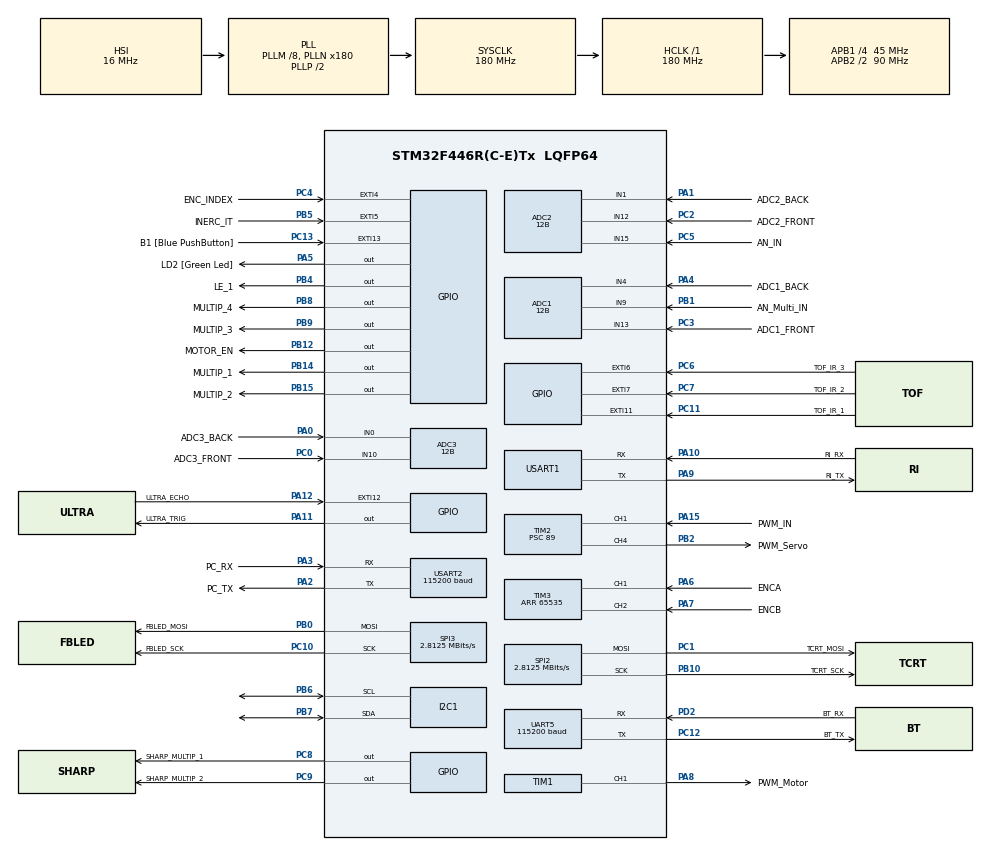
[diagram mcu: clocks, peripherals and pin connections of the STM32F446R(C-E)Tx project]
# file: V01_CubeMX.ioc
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ADC1.Channel-30\#ChannelRegularConversion=ADC_CHANNEL_13
ADC1.Channel-31\#ChannelRegularConversion=ADC_CHANNEL_4
ADC1.Channel-32\#ChannelRegularConversion=ADC_CHANNEL_9
ADC1.ClockPrescaler=ADC_CLOCK_SYNC_PCLK_DIV4
ADC1.ContinuousConvMode=DISABLE
ADC1.DMAAccessMode=ADC_DMAACCESSMODE_1
ADC1.DMAContinuousRequests=ENABLE
ADC1.DataAlign=ADC_DATAALIGN_RIGHT
ADC1.DiscontinuousConvMode=DISABLE
ADC1.EOCSelection=ADC_EOC_SEQ_CONV
ADC1.EnableAnalogWatchDog=false
ADC1.ExternalTrigConv=ADC_SOFTWARE_START
ADC1.ExternalTrigConvEdge=ADC_EXTERNALTRIGCONVEDGE_NONE
ADC1.InjNumberOfConversion=0
ADC1.Mode=ADC_TRIPLEMODE_REGSIMULT
ADC1.NbrOfConversion=3
ADC1.NbrOfConversionFlag=1
ADC1.Rank-30\#ChannelRegularConversion=1
ADC1.Rank-31\#ChannelRegularConversion=2
ADC1.Rank-32\#ChannelRegularConversion=3
ADC1.Resolution=ADC_RESOLUTION_12B
ADC1.SamplingTime-30\#ChannelRegularConversion=ADC_SAMPLETIME_84CYCLES
ADC1.SamplingTime-31\#ChannelRegularConversion=ADC_SAMPLETIME_84CYCLES
ADC1.SamplingTime-32\#ChannelRegularConversion=ADC_SAMPLETIME_84CYCLES
ADC1.ScanConvMode=ENABLE
ADC1.TwoSamplingDelay=ADC_TWOSAMPLINGDELAY_20CYCLES
ADC1.master=1
ADC2.Channel-0\#ChannelRegularConversion=ADC_CHANNEL_12
ADC2.Channel-1\#ChannelRegularConversion=ADC_CHANNEL_1
ADC2.Channel-2\#ChannelRegularConversion=ADC_CHANNEL_15
ADC2.ClockPrescaler=ADC_CLOCK_SYNC_PCLK_DIV4
ADC2.ContinuousConvMode=DISABLE
ADC2.DMAAccessMode=ADC_DMAACCESSMODE_1
ADC2.DMAContinuousRequests=ENABLE
ADC2.DataAlign=ADC_DATAALIGN_RIGHT
ADC2.DiscontinuousConvMode=DISABLE
ADC2.EOCSelection=ADC_EOC_SEQ_CONV
ADC2.EnableAnalogWatchDog=false
ADC2.Mode=ADC_TRIPLEMODE_REGSIMULT
ADC2.NbrOfConversion=3
ADC2.NbrOfConversionFlag=1
ADC2.Rank-0\#ChannelRegularConversion=1
ADC2.Rank-1\#ChannelRegularConversion=2
ADC2.Rank-2\#ChannelRegularConversion=3
ADC2.Resolution=ADC_RESOLUTION_12B
ADC2.SamplingTime-0\#ChannelRegularConversion=ADC_SAMPLETIME_84CYCLES
ADC2.SamplingTime-1\#ChannelRegularConversion=ADC_SAMPLETIME_84CYCLES
ADC2.SamplingTime-2\#ChannelRegularConversion=ADC_SAMPLETIME_84CYCLES
ADC2.ScanConvMode=ENABLE
ADC2.TwoSamplingDelay=ADC_TWOSAMPLINGDELAY_20CYCLES
ADC3.Channel-14\#ChannelRegularConversion=ADC_CHANNEL_10
ADC3.Channel-15\#ChannelRegularConversion=ADC_CHANNEL_0
ADC3.Channel-16\#ChannelRegularConversion=ADC_CHANNEL_0
ADC3.ClockPrescaler=ADC_CLOCK_SYNC_PCLK_DIV4
ADC3.ContinuousConvMode=DISABLE
ADC3.DMAAccessMode=ADC_DMAACCESSMODE_1
ADC3.DMAContinuousRequests=ENABLE
ADC3.DataAlign=ADC_DATAALIGN_RIGHT
ADC3.DiscontinuousConvMode=DISABLE
ADC3.EOCSelection=ADC_EOC_SEQ_CONV
ADC3.EnableAnalogWatchDog=false
ADC3.InjNumberOfConversion=0
ADC3.Mode=ADC_TRIPLEMODE_REGSIMULT
ADC3.NbrOfConversion=3
ADC3.NbrOfConversionFlag=1
ADC3.Rank-14\#ChannelRegularConversion=1
ADC3.Rank-15\#ChannelRegularConversion=2
ADC3.Rank-16\#ChannelRegularConversion=3
ADC3.Resolution=ADC_RESOLUTION_12B
ADC3.SamplingTime-14\#ChannelRegularConversion=ADC_SAMPLETIME_84CYCLES
ADC3.SamplingTime-15\#ChannelRegularConversion=ADC_SAMPLETIME_84CYCLES
ADC3.SamplingTime-16\#ChannelRegularConversion=ADC_SAMPLETIME_84CYCLES
ADC3.ScanConvMode=ENABLE
ADC3.TwoSamplingDelay=ADC_TWOSAMPLINGDELAY_20CYCLES
Dma.ADC1.0.Direction=DMA_PERIPH_TO_MEMORY
Dma.ADC1.0.FIFOMode=DMA_FIFOMODE_DISABLE
Dma.ADC1.0.Instance=DMA2_Stream0
Dma.ADC1.0.MemDataAlignment=DMA_MDATAALIGN_WORD
Dma.ADC1.0.MemInc=DMA_MINC_ENABLE
Dma.ADC1.0.Mode=DMA_NORMAL
Dma.ADC1.0.PeriphDataAlignment=DMA_PDATAALIGN_WORD
Dma.ADC1.0.PeriphInc=DMA_PINC_DISABLE
Dma.ADC1.0.Priority=DMA_PRIORITY_HIGH
Dma.ADC2.6.Direction=DMA_PERIPH_TO_MEMORY
Dma.ADC2.6.FIFOMode=DMA_FIFOMODE_DISABLE
Dma.ADC2.6.Instance=DMA2_Stream2
Dma.ADC2.6.MemDataAlignment=DMA_MDATAALIGN_WORD
Dma.ADC2.6.MemInc=DMA_MINC_ENABLE
Dma.ADC2.6.Mode=DMA_NORMAL
Dma.ADC2.6.PeriphDataAlignment=DMA_PDATAALIGN_WORD
Dma.ADC2.6.PeriphInc=DMA_PINC_DISABLE
Dma.ADC2.6.Priority=DMA_PRIORITY_HIGH
Dma.ADC3.7.Direction=DMA_PERIPH_TO_MEMORY
Dma.ADC3.7.FIFOMode=DMA_FIFOMODE_DISABLE
Dma.ADC3.7.Instance=DMA2_Stream1
Dma.ADC3.7.MemDataAlignment=DMA_MDATAALIGN_WORD
Dma.ADC3.7.MemInc=DMA_MINC_ENABLE
Dma.ADC3.7.Mode=DMA_NORMAL
Dma.ADC3.7.PeriphDataAlignment=DMA_PDATAALIGN_WORD
Dma.ADC3.7.PeriphInc=DMA_PINC_DISABLE
Dma.ADC3.7.Priority=DMA_PRIORITY_HIGH
Dma.Request0=ADC1
Dma.Request1=TIM3_CH4/UP
Dma.Request2=USART2_RX
Dma.Request3=USART2_TX
Dma.Request4=UART5_RX
Dma.Request5=UART5_TX
Dma.Request6=ADC2
Dma.Request7=ADC3
Dma.Request8=SPI2_TX
Dma.SPI2_TX.8.Direction=DMA_MEMORY_TO_PERIPH
Dma.SPI2_TX.8.FIFOMode=DMA_FIFOMODE_DISABLE
Dma.SPI2_TX.8.Instance=DMA1_Stream4
Dma.SPI2_TX.8.MemDataAlignment=DMA_MDATAALIGN_BYTE
Dma.SPI2_TX.8.MemInc=DMA_MINC_ENABLE
Dma.SPI2_TX.8.Mode=DMA_NORMAL
Dma.SPI2_TX.8.PeriphDataAlignment=DMA_PDATAALIGN_BYTE
Dma.SPI2_TX.8.PeriphInc=DMA_PINC_DISABLE
Dma.SPI2_TX.8.Priority=DMA_PRIORITY_LOW
Dma.TIM3_CH4/UP.1.Direction=DMA_PERIPH_TO_MEMORY
Dma.TIM3_CH4/UP.1.FIFOMode=DMA_FIFOMODE_DISABLE
Dma.TIM3_CH4/UP.1.Instance=DMA1_Stream2
Dma.TIM3_CH4/UP.1.MemDataAlignment=DMA_MDATAALIGN_HALFWORD
Dma.TIM3_CH4/UP.1.MemInc=DMA_MINC_ENABLE
Dma.TIM3_CH4/UP.1.Mode=DMA_NORMAL
Dma.TIM3_CH4/UP.1.PeriphDataAlignment=DMA_PDATAALIGN_HALFWORD
Dma.TIM3_CH4/UP.1.PeriphInc=DMA_PINC_DISABLE
Dma.TIM3_CH4/UP.1.Priority=DMA_PRIORITY_HIGH
Dma.UART5_RX.4.Direction=DMA_PERIPH_TO_MEMORY
Dma.UART5_RX.4.FIFOMode=DMA_FIFOMODE_DISABLE
Dma.UART5_RX.4.Instance=DMA1_Stream0
Dma.UART5_RX.4.MemDataAlignment=DMA_MDATAALIGN_BYTE
Dma.UART5_RX.4.MemInc=DMA_MINC_ENABLE
Dma.UART5_RX.4.Mode=DMA_NORMAL
Dma.UART5_RX.4.PeriphDataAlignment=DMA_PDATAALIGN_BYTE
Dma.UART5_RX.4.PeriphInc=DMA_PINC_DISABLE
Dma.UART5_RX.4.Priority=DMA_PRIORITY_LOW
Dma.UART5_TX.5.Direction=DMA_MEMORY_TO_PERIPH
Dma.UART5_TX.5.FIFOMode=DMA_FIFOMODE_DISABLE
Dma.UART5_TX.5.Instance=DMA1_Stream7
Dma.UART5_TX.5.MemDataAlignment=DMA_MDATAALIGN_BYTE
Dma.UART5_TX.5.MemInc=DMA_MINC_ENABLE
Dma.UART5_TX.5.Mode=DMA_NORMAL
Dma.UART5_TX.5.PeriphDataAlignment=DMA_PDATAALIGN_BYTE
Dma.UART5_TX.5.PeriphInc=DMA_PINC_DISABLE
Dma.UART5_TX.5.Priority=DMA_PRIORITY_LOW
Dma.USART2_RX.2.Direction=DMA_PERIPH_TO_MEMORY
Dma.USART2_RX.2.FIFOMode=DMA_FIFOMODE_DISABLE
Dma.USART2_RX.2.Instance=DMA1_Stream5
Dma.USART2_RX.2.MemDataAlignment=DMA_MDATAALIGN_BYTE
Dma.USART2_RX.2.MemInc=DMA_MINC_ENABLE
Dma.USART2_RX.2.Mode=DMA_NORMAL
Dma.USART2_RX.2.PeriphDataAlignment=DMA_PDATAALIGN_BYTE
Dma.USART2_RX.2.PeriphInc=DMA_PINC_DISABLE
Dma.USART2_RX.2.Priority=DMA_PRIORITY_MEDIUM
Dma.USART2_TX.3.Direction=DMA_MEMORY_TO_PERIPH
Dma.USART2_TX.3.FIFOMode=DMA_FIFOMODE_DISABLE
Dma.USART2_TX.3.Instance=DMA1_Stream6
Dma.USART2_TX.3.MemDataAlignment=DMA_MDATAALIGN_BYTE
Dma.USART2_TX.3.MemInc=DMA_MINC_ENABLE
Dma.USART2_TX.3.Mode=DMA_NORMAL
Dma.USART2_TX.3.PeriphDataAlignment=DMA_PDATAALIGN_BYTE
Dma.USART2_TX.3.PeriphInc=DMA_PINC_DISABLE
Dma.USART2_TX.3.Priority=DMA_PRIORITY_MEDIUM
FREERTOS.Tasks01=Encoder_Task,1,128,Start_Encoder_Task,As weak,NULL,Dynamic,NULL,NULL;ADC_Task,2,128,Start_ADC_Task,As weak,NULL,Dynamic,NULL,NULL;Debug_Task,0,512,Start_Debug_Task,As weak,NULL,Dynamic,NULL,NULL;Calculate_Task,1,512,Start_Calculate_Task,As weak,NULL,Dynamic,NULL,NULL;Motor_Task,0,128,Start_Motor_Task,As weak,NULL,Dynamic,NULL,NULL;Get_Debug_Task,-2,128,Start_Get_Debug_Task,As weak,NULL,Dynamic,NULL,NULL;Gyroscope_Task,0,512,Start_Gyroscope_Task,As weak,NULL,Dynamic,NULL,NULL;Servo_Task,0,256,Start_Servo_Task,As weak,NULL,Dynamic,NULL,NULL;TOF_Task,0,128,Start_TOF_Task,As weak,NULL,Dynamic,NULL,NULL
FREERTOS.configGENERATE_RUN_TIME_STATS=1
FREERTOS.configUSE_STATS_FORMATTING_FUNCTIONS=1
FREERTOS.configUSE_TIMERS=0
FREERTOS.configUSE_TRACE_FACILITY=1
I2C1.I2C_Mode=I2C_Standard
Mcu.Family=STM32F4
Mcu.Name=STM32F446R(C-E)Tx
Mcu.Package=LQFP64
NVIC.ADC_IRQn=true\:5\:0\:false\:false\:true\:true\:true
NVIC.DMA1_Stream0_IRQn=true\:5\:0\:false\:false\:true\:true\:false
NVIC.DMA1_Stream2_IRQn=true\:5\:0\:false\:false\:true\:true\:false
NVIC.DMA1_Stream4_IRQn=true\:5\:0\:false\:false\:true\:true\:false
NVIC.DMA1_Stream5_IRQn=true\:5\:0\:false\:false\:true\:true\:false
NVIC.DMA1_Stream6_IRQn=true\:5\:0\:false\:false\:true\:true\:false
NVIC.DMA1_Stream7_IRQn=true\:5\:0\:false\:false\:true\:true\:false
NVIC.DMA2_Stream0_IRQn=true\:5\:0\:false\:false\:true\:true\:false
NVIC.DMA2_Stream1_IRQn=true\:5\:0\:false\:false\:true\:true\:false
NVIC.DMA2_Stream2_IRQn=true\:5\:0\:false\:false\:true\:true\:false
NVIC.EXTI15_10_IRQn=true\:5\:0\:false\:false\:true\:true\:true
NVIC.EXTI9_5_IRQn=true\:5\:0\:false\:false\:true\:true\:true
NVIC.I2C1_ER_IRQn=true\:5\:0\:false\:false\:true\:true\:true
NVIC.I2C1_EV_IRQn=true\:5\:0\:false\:false\:true\:true\:true
NVIC.PriorityGroup=NVIC_PRIORITYGROUP_4
NVIC.SPI2_IRQn=true\:5\:0\:false\:false\:true\:true\:true
NVIC.TIM1_TRG_COM_TIM11_IRQn=true\:5\:0\:false\:false\:true\:true\:true
NVIC.TIM1_UP_TIM10_IRQn=true\:0\:0\:false\:false\:true\:false\:false
NVIC.TIM2_IRQn=true\:5\:0\:false\:false\:true\:true\:true
NVIC.TIM6_DAC_IRQn=true\:5\:0\:false\:false\:true\:true\:true
NVIC.TIM7_IRQn=true\:5\:0\:false\:false\:true\:true\:true
NVIC.TIM8_BRK_TIM12_IRQn=true\:5\:0\:false\:false\:true\:true\:true
NVIC.TIM8_TRG_COM_TIM14_IRQn=true\:5\:0\:false\:false\:true\:true\:true
NVIC.TIM8_UP_TIM13_IRQn=true\:5\:0\:false\:false\:true\:true\:true
NVIC.TimeBase=TIM1_UP_TIM10_IRQn
NVIC.TimeBaseIP=TIM10
NVIC.UART5_IRQn=true\:5\:0\:false\:false\:true\:true\:true
NVIC.USART1_IRQn=true\:5\:0\:false\:false\:true\:true\:true
NVIC.USART2_IRQn=true\:5\:0\:false\:false\:true\:true\:true
PA0-WKUP.GPIO_Label=ADC3_BACK
PA0-WKUP.Signal=ADCx_IN0
PA1.GPIO_Label=ADC2_BACK
PA1.Signal=ADCx_IN1
PA10.GPIO_Label=RI_RX
PA10.Mode=Asynchronous
PA10.Signal=USART1_RX
PA11.GPIO_Label=ULTRA_TRIG
PA11.GPIO_PuPd=GPIO_NOPULL
PA11.GPIO_Speed=GPIO_SPEED_FREQ_LOW
PA11.PinState=GPIO_PIN_RESET
PA11.Signal=GPIO_Output
PA12.GPIO_Label=ULTRA_ECHO
PA12.GPIO_ModeDefaultEXTI=GPIO_MODE_IT_RISING_FALLING
PA12.Signal=GPXTI12
PA13.GPIO_Label=TMS
PA13.Mode=Serial_Wire
PA13.Signal=SYS_JTMS-SWDIO
PA14.GPIO_Label=TCK
PA14.Mode=Serial_Wire
PA14.Signal=SYS_JTCK-SWCLK
PA15.GPIO_Label=PWM_IN
PA15.Signal=S_TIM2_CH1_ETR
PA2.GPIO_Label=PC_TX
PA2.Mode=Asynchronous
PA2.Signal=USART2_TX
PA3.GPIO_Label=PC_RX
PA3.Mode=Asynchronous
PA3.Signal=USART2_RX
PA4.GPIO_Label=ADC1_BACK
PA4.Signal=ADCx_IN4
PA5.GPIO_Label=LD2 [Green Led]
PA5.Signal=GPIO_Output
PA6.GPIO_Label=ENCA
PA6.GPIO_PuPd=GPIO_NOPULL
PA6.GPIO_Speed=GPIO_SPEED_FREQ_VERY_HIGH
PA6.Signal=S_TIM3_CH1
PA7.GPIO_Label=ENCB
PA7.GPIO_PuPd=GPIO_NOPULL
PA7.GPIO_Speed=GPIO_SPEED_FREQ_VERY_HIGH
PA7.Signal=S_TIM3_CH2
PA8.GPIO_Label=PWM_Motor
PA8.Signal=S_TIM1_CH1
PA9.GPIO_Label=RI_TX
PA9.Mode=Asynchronous
PA9.Signal=USART1_TX
PB0.GPIO_Label=FBLED_MOSI
PB0.Mode=TX_Only_Simplex_Unidirect_Master
PB0.Signal=SPI3_MOSI
PB1.GPIO_Label=AN_Multi_IN
PB1.Signal=ADCx_IN9
PB10.GPIO_Label=TCRT_SCK
PB10.Mode=TX_Only_Simplex_Unidirect_Master
PB10.Signal=SPI2_SCK
PB12.GPIO_Label=MOTOR_EN
PB12.GPIO_PuPd=GPIO_PULLDOWN
PB12.Signal=GPIO_Output
PB14.GPIO_Label=MULTIP_1
PB14.GPIO_Speed=GPIO_SPEED_FREQ_LOW
PB14.Signal=GPIO_Output
PB15.GPIO_Label=MULTIP_2
PB15.GPIO_Speed=GPIO_SPEED_FREQ_LOW
PB15.Signal=GPIO_Output
PB2.GPIO_Label=PWM_Servo
PB2.Signal=S_TIM2_CH4
PB3.GPIO_Label=SWO
PB3.Signal=SYS_JTDO-SWO
PB4.GPIO_Label=LE_1
PB4.GPIO_Speed=GPIO_SPEED_FREQ_LOW
PB4.PinState=GPIO_PIN_RESET
PB4.Signal=GPIO_Output
PB5.GPIO_Label=INERC_IT
PB5.Signal=GPXTI5
PB6.Mode=I2C
PB6.Signal=I2C1_SCL
PB7.Mode=I2C
PB7.Signal=I2C1_SDA
PB8.GPIO_Label=MULTIP_4
PB8.GPIO_Speed=GPIO_SPEED_FREQ_LOW
PB8.Signal=GPIO_Output
PB9.GPIO_Label=MULTIP_3
PB9.GPIO_Speed=GPIO_SPEED_FREQ_LOW
PB9.Signal=GPIO_Output
PC0.GPIO_Label=ADC3_FRONT
PC0.Signal=ADCx_IN10
PC1.GPIO_Label=TCRT_MOSI
PC1.Mode=TX_Only_Simplex_Unidirect_Master
PC1.Signal=SPI2_MOSI
PC10.GPIO_Label=FBLED_SCK
PC10.Mode=TX_Only_Simplex_Unidirect_Master
PC10.Signal=SPI3_SCK
PC11.GPIO_Label=TOF_IR_1
PC11.Signal=GPXTI11
PC12.GPIO_Label=BT_TX
PC12.Mode=Asynchronous
PC12.Signal=UART5_TX
PC13.GPIO_Label=B1 [Blue PushButton]
PC13.GPIO_ModeDefaultEXTI=GPIO_MODE_IT_FALLING
PC13.Signal=GPXTI13
PC14-OSC32_IN.Mode=LSE-External-Oscillator
PC14-OSC32_IN.Signal=RCC_OSC32_IN
PC15-OSC32_OUT.Mode=LSE-External-Oscillator
PC15-OSC32_OUT.Signal=RCC_OSC32_OUT
PC2.GPIO_Label=ADC2_FRONT
PC2.Signal=ADCx_IN12
PC3.GPIO_Label=ADC1_FRONT
PC3.Signal=ADCx_IN13
PC4.GPIO_Label=ENC_INDEX
PC4.Signal=GPXTI4
PC5.GPIO_Label=AN_IN
PC5.Signal=ADCx_IN15
PC6.GPIO_Label=TOF_IR_3
PC6.Signal=GPXTI6
PC7.GPIO_Label=TOF_IR_2
PC7.Signal=GPXTI7
PC8.GPIO_Label=SHARP_MULTIP_1
PC8.GPIO_Speed=GPIO_SPEED_FREQ_LOW
PC8.Signal=GPIO_Output
PC9.GPIO_Label=SHARP_MULTIP_2
PC9.GPIO_Speed=GPIO_SPEED_FREQ_LOW
PC9.Signal=GPIO_Output
PD2.GPIO_Label=BT_RX
PD2.Mode=Asynchronous
PD2.Signal=UART5_RX
PH0-OSC_IN.Mode=HSE-External-Oscillator
PH0-OSC_IN.Signal=RCC_OSC_IN
PH1-OSC_OUT.Mode=HSE-External-Oscillator
PH1-OSC_OUT.Signal=RCC_OSC_OUT
ProjectManager.HeapSize=0x200
ProjectManager.StackSize=0x400
ProjectManager.TargetToolchain=MDK-ARM V5
RCC.48MHZClocksFreq_Value=84000000
RCC.AHBFreq_Value=180000000
RCC.APB1CLKDivider=RCC_HCLK_DIV4
RCC.APB1Freq_Value=45000000
RCC.APB1TimFreq_Value=90000000
RCC.APB2CLKDivider=RCC_HCLK_DIV2
RCC.APB2Freq_Value=90000000
RCC.APB2TimFreq_Value=180000000
RCC.CortexFreq_Value=180000000
RCC.FLatency-AdvancedSettings=FLASH_LATENCY_5
RCC.HCLKFreq_Value=180000000
RCC.HSE_VALUE=8000000
RCC.HSI_VALUE=16000000
RCC.PLLM=8
RCC.PLLN=180
RCC.SYSCLKFreq_VALUE=180000000
RCC.SYSCLKSource=RCC_SYSCLKSOURCE_PLLCLK
RCC.USBFreq_Value=180000000
RCC.VCOOutputFreq_Value=360000000
SH.ADCx_IN0.0=ADC3_IN0,IN0
SH.ADCx_IN1.0=ADC2_IN1,IN1
SH.ADCx_IN10.0=ADC3_IN10,IN10
SH.ADCx_IN12.0=ADC2_IN12,IN12
SH.ADCx_IN13.0=ADC1_IN13,IN13
SH.ADCx_IN15.0=ADC2_IN15,IN15
SH.ADCx_IN4.0=ADC1_IN4,IN4
SH.ADCx_IN9.0=ADC1_IN9,IN9
SH.S_TIM1_CH1.0=TIM1_CH1,PWM Generation1 CH1
SH.S_TIM2_CH1_ETR.0=TIM2_CH1,PWM_Input_1
SH.S_TIM2_CH4.0=TIM2_CH4,PWM Generation4 CH4
SH.S_TIM3_CH1.0=TIM3_CH1,Encoder_Interface
SH.S_TIM3_CH2.0=TIM3_CH2,Encoder_Interface
SPI2.BaudRatePrescaler=SPI_BAUDRATEPRESCALER_16
SPI2.CalculateBaudRate=2.8125 MBits/s
SPI2.DataSize=SPI_DATASIZE_8BIT
SPI2.Direction=SPI_DIRECTION_2LINES
SPI2.Mode=SPI_MODE_MASTER
SPI2.VirtualType=VM_MASTER
SPI3.BaudRatePrescaler=SPI_BAUDRATEPRESCALER_16
SPI3.CalculateBaudRate=2.8125 MBits/s
SPI3.DataSize=SPI_DATASIZE_8BIT
SPI3.Direction=SPI_DIRECTION_2LINES
SPI3.Mode=SPI_MODE_MASTER
SPI3.VirtualType=VM_MASTER
TIM1.Channel-PWM\ Generation1\ CH1=TIM_CHANNEL_1
TIM1.OCFastMode_PWM-PWM\ Generation1\ CH1=TIM_OCFAST_DISABLE
TIM1.Period=9999
TIM1.Prescaler=179
TIM1.Pulse-PWM\ Generation1\ CH1=1500
TIM11.Period=299
TIM11.Prescaler=179
TIM12.Period=65535
TIM12.Prescaler=17
TIM13.Period=10
TIM13.Prescaler=89
TIM14.Period=1999
TIM14.Prescaler=44999
TIM2.Channel-PWM\ Generation4\ CH4=TIM_CHANNEL_4
TIM2.Period=4999
TIM2.Prescaler=89
TIM2.Pulse-PWM\ Generation4\ CH4=1500
TIM3.EncoderMode=TIM_ENCODERMODE_TI1
TIM3.IC1Filter=5
TIM3.IC2Filter=5
TIM3.Period=65535
TIM6.Period=99
TIM6.Prescaler=89
TIM7.Period=59999
TIM7.Prescaler=89
UART5.BaudRate=115200
UART5.VirtualMode=Asynchronous
USART1.VirtualMode=VM_ASYNC
USART2.BaudRate=115200
USART2.VirtualMode=VM_ASYNC
VP_FREERTOS_VS_ENABLE.Mode=Enabled
VP_SYS_VS_tim10.Mode=TIM10
VP_TIM11_VS_ClockSourceINT.Mode=Enable_Timer
VP_TIM12_VS_ClockSourceINT.Mode=Internal
VP_TIM13_VS_ClockSourceINT.Mode=Enable_Timer
VP_TIM14_VS_ClockSourceINT.Mode=Enable_Timer
VP_TIM6_VS_ClockSourceINT.Mode=Enable_Timer
VP_TIM7_VS_ClockSourceINT.Mode=Enable_Timer
board=NUCLEO-F446RE

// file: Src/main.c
/* USER CODE BEGIN Header */
/**
  ******************************************************************************
  * @file           : main.c
  * @brief          : Main program body
  ******************************************************************************
  * This notice applies to any and all portions of this file
  * that are not between comment pairs USER CODE BEGIN and
  * USER CODE END. Other portions of this file, whether
  * inserted by the user or by software development tools
  * are owned by their respective copyright owners.
  *
  * Copyright (c) 2018 STMicroelectronics International N.V.
  * All rights reserved.
  *
  * Redistribution and use in source and binary forms, with or without
  * modification, are permitted, provided that the following conditions are met:
  *
  * 1. Redistribution of source code must retain the above copyright notice,
  *    this list of conditions and the following disclaimer.
  * 2. Redistributions in binary form must reproduce the above copyright notice,
  *    this list of conditions and the following disclaimer in the documentation
  *    and/or other materials provided with the distribution.
  * 3. Neither the name of STMicroelectronics nor the names of other
  *    contributors to this software may be used to endorse or promote products
  *    derived from this software without specific written permission.
  * 4. This software, including modifications and/or derivative works of this
  *    software, must execute solely and exclusively on microcontroller or
  *    microprocessor devices manufactured by or for STMicroelectronics.
  * 5. Redistribution and use of this software other than as permitted under
  *    this license is void and will automatically terminate your rights under
  *    this license.
  *
  * THIS SOFTWARE IS PROVIDED BY STMICROELECTRONICS AND CONTRIBUTORS "AS IS"
  * AND ANY EXPRESS, IMPLIED OR STATUTORY WARRANTIES, INCLUDING, BUT NOT
  * LIMITED TO, THE IMPLIED WARRANTIES OF MERCHANTABILITY, FITNESS FOR A
  * PARTICULAR PURPOSE AND NON-INFRINGEMENT OF THIRD PARTY INTELLECTUAL PROPERTY
  * RIGHTS ARE DISCLAIMED TO THE FULLEST EXTENT PERMITTED BY LAW. IN NO EVENT
  * SHALL STMICROELECTRONICS OR CONTRIBUTORS BE LIABLE FOR ANY DIRECT, INDIRECT,
  * INCIDENTAL, SPECIAL, EXEMPLARY, OR CONSEQUENTIAL DAMAGES (INCLUDING, BUT NOT
  * LIMITED TO, PROCUREMENT OF SUBSTITUTE GOODS OR SERVICES; LOSS OF USE, DATA,
  * OR PROFITS; OR BUSINESS INTERRUPTION) HOWEVER CAUSED AND ON ANY THEORY OF
  * LIABILITY, WHETHER IN CONTRACT, STRICT LIABILITY, OR TORT (INCLUDING
  * NEGLIGENCE OR OTHERWISE) ARISING IN ANY WAY OUT OF THE USE OF THIS SOFTWARE,
  * EVEN IF ADVISED OF THE POSSIBILITY OF SUCH DAMAGE.
  *
  ******************************************************************************
  */
/* USER CODE END Header */

#include "main.h"
#include "cmsis_os.h"

/* USER CODE BEGIN Includes */
#include "robonaut_config.h"
/* USER CODE END Includes */

/* USER CODE BEGIN PTD */
uint16_t Timer7_UPPER;
/* USER CODE END PTD */

ADC_HandleTypeDef hadc1;
ADC_HandleTypeDef hadc2;
ADC_HandleTypeDef hadc3;
DMA_HandleTypeDef hdma_adc1;
DMA_HandleTypeDef hdma_adc2;
DMA_HandleTypeDef hdma_adc3;

I2C_HandleTypeDef hi2c1;

SPI_HandleTypeDef hspi2;
SPI_HandleTypeDef hspi3;
DMA_HandleTypeDef hdma_spi2_tx;

TIM_HandleTypeDef htim1;
TIM_HandleTypeDef htim2;
TIM_HandleTypeDef htim3;
TIM_HandleTypeDef htim6;
TIM_HandleTypeDef htim7;
TIM_HandleTypeDef htim11;
TIM_HandleTypeDef htim12;
TIM_HandleTypeDef htim13;
TIM_HandleTypeDef htim14;
DMA_HandleTypeDef hdma_tim3_ch4_up;

UART_HandleTypeDef huart5;
UART_HandleTypeDef huart1;
UART_HandleTypeDef huart2;
DMA_HandleTypeDef hdma_uart5_rx;
DMA_HandleTypeDef hdma_uart5_tx;
DMA_HandleTypeDef hdma_usart2_rx;
DMA_HandleTypeDef hdma_usart2_tx;

osThreadId Encoder_TaskHandle;
osThreadId ADC_TaskHandle;
osThreadId Debug_TaskHandle;
osThreadId Calculate_TaskHandle;
osThreadId Motor_TaskHandle;
osThreadId Get_Debug_TaskHandle;
osThreadId Gyroscope_TaskHandle;
osThreadId Servo_TaskHandle;
osThreadId TOF_TaskHandle;
/* USER CODE BEGIN PV */
BaseType_t xHigherPriorityTaskWoken = pdFALSE;
BaseType_t xHigherPriorityTaskWokenDebug = pdFALSE;
BaseType_t xHigherPriorityTaskWokenDebugGet = pdFALSE;
BaseType_t xHigherPriorityTaskWokenGPIO = pdFALSE;
BaseType_t xHigherPriorityTaskWokenEncoder = pdFALSE;

SemaphoreHandle_t xMutexI2C;
SemaphoreHandle_t xMutexUART;

/* USER CODE END PV */

void SystemClock_Config(void);
static void MX_GPIO_Init(void);
static void MX_DMA_Init(void);
static void MX_USART2_UART_Init(void);
static void MX_UART5_Init(void);
static void MX_USART1_UART_Init(void);
static void MX_I2C1_Init(void);
static void MX_TIM3_Init(void);
static void MX_ADC3_Init(void);
static void MX_ADC2_Init(void);
static void MX_ADC1_Init(void);
static void MX_TIM1_Init(void);
static void MX_TIM2_Init(void);
static void MX_TIM12_Init(void);
static void MX_TIM13_Init(void);
static void MX_TIM11_Init(void);
static void MX_TIM14_Init(void);
static void MX_SPI2_Init(void);
static void MX_SPI3_Init(void);
static void MX_TIM7_Init(void);
static void MX_TIM6_Init(void);
void Start_Encoder_Task(void const * argument);
void Start_ADC_Task(void const * argument);
void Start_Debug_Task(void const * argument);
void Start_Calculate_Task(void const * argument);
void Start_Motor_Task(void const * argument);
void Start_Get_Debug_Task(void const * argument);
void Start_Gyroscope_Task(void const * argument);
void Start_Servo_Task(void const * argument);
void Start_TOF_Task(void const * argument);

int main(void)
{

  /* MCU Configuration--------------------------------------------------------*/

  /* Reset of all peripherals, Initializes the Flash interface and the Systick. */
  HAL_Init();

  /* Configure the system clock */
  SystemClock_Config();

  /* Initialize all configured peripherals */
  MX_GPIO_Init();
  MX_DMA_Init();
  MX_USART2_UART_Init();
  MX_UART5_Init();
  MX_USART1_UART_Init();
  MX_I2C1_Init();
  MX_TIM3_Init();
  MX_ADC3_Init();
  MX_ADC2_Init();
  MX_ADC1_Init();
  MX_TIM1_Init();
  MX_TIM2_Init();
  MX_TIM12_Init();
  MX_TIM13_Init();
  MX_TIM11_Init();
  MX_TIM14_Init();
  MX_SPI2_Init();
  MX_SPI3_Init();
  MX_TIM7_Init();
  MX_TIM6_Init();

  /* USER CODE BEGIN RTOS_MUTEX */
  /* add mutexes, ... */

	xMutexI2C = xSemaphoreCreateMutex();
	xMutexUART = xSemaphoreCreateMutex();

  /* USER CODE END RTOS_MUTEX */

  /* USER CODE BEGIN RTOS_TIMERS */
  /* start timers, add new ones, ... */
	HAL_TIM_Base_Start_IT(&htim7);

	HAL_TIM_Encoder_Start(&htim3,TIM_CHANNEL_ALL);

	HAL_TIM_Base_Start(&htim2);
	HAL_TIM_Base_Start(&htim1);
	HAL_TIM_PWM_Start(&htim2,TIM_CHANNEL_4);
	HAL_TIM_PWM_Start(&htim1,TIM_CHANNEL_1);

	if (HAL_TIM_IC_Start_IT(&htim2, TIM_CHANNEL_2) != HAL_OK)
  {
    /* Starting Error */
    Error_Handler();
  }

	if (HAL_TIM_IC_Start_IT(&htim2, TIM_CHANNEL_1) != HAL_OK)
  {
    /* Starting Error */
    Error_Handler();
  }
  /* USER CODE END RTOS_TIMERS */

  /* Create the thread(s) */
  /* definition and creation of Encoder_Task */
  osThreadDef(Encoder_Task, Start_Encoder_Task, osPriorityAboveNormal, 0, 128);
  Encoder_TaskHandle = osThreadCreate(osThread(Encoder_Task), NULL);

  /* definition and creation of ADC_Task */
  osThreadDef(ADC_Task, Start_ADC_Task, osPriorityHigh, 0, 128);
  ADC_TaskHandle = osThreadCreate(osThread(ADC_Task), NULL);

  /* definition and creation of Debug_Task */
  osThreadDef(Debug_Task, Start_Debug_Task, osPriorityNormal, 0, 512);
  Debug_TaskHandle = osThreadCreate(osThread(Debug_Task), NULL);

  /* definition and creation of Calculate_Task */
  osThreadDef(Calculate_Task, Start_Calculate_Task, osPriorityAboveNormal, 0, 512);
  Calculate_TaskHandle = osThreadCreate(osThread(Calculate_Task), NULL);

  /* definition and creation of Motor_Task */
  osThreadDef(Motor_Task, Start_Motor_Task, osPriorityNormal, 0, 128);
  Motor_TaskHandle = osThreadCreate(osThread(Motor_Task), NULL);

  /* definition and creation of Get_Debug_Task */
  osThreadDef(Get_Debug_Task, Start_Get_Debug_Task, osPriorityLow, 0, 128);
  Get_Debug_TaskHandle = osThreadCreate(osThread(Get_Debug_Task), NULL);

  /* definition and creation of Gyroscope_Task */
  osThreadDef(Gyroscope_Task, Start_Gyroscope_Task, osPriorityNormal, 0, 512);
  Gyroscope_TaskHandle = osThreadCreate(osThread(Gyroscope_Task), NULL);

  /* definition and creation of Servo_Task */
  osThreadDef(Servo_Task, Start_Servo_Task, osPriorityNormal, 0, 256);
  Servo_TaskHandle = osThreadCreate(osThread(Servo_Task), NULL);

  /* definition and creation of TOF_Task */
  osThreadDef(TOF_Task, Start_TOF_Task, osPriorityNormal, 0, 128);
  TOF_TaskHandle = osThreadCreate(osThread(TOF_Task), NULL);

  /* USER CODE BEGIN RTOS_QUEUES */
  /* add queues, ... */
	//Flash kiolvasАs
	uint32_t flash_address=0x08040000;
	for(uint8_t iter=0;iter<FLASH_DATA_SIZE;iter++){
		uint32_t u=Flash_Read(flash_address);
		flash_data[iter]=*(float *)&u;
		flash_address+=4;
	}
	for(uint8_t iter=0;iter<96;iter++)
	{
		adc_vago[iter]=Flash_Read(flash_address);
		flash_address+=4;
	}
	Flash_variable();
	HAL_GPIO_WritePin(GPIOA,GPIO_PIN_5,GPIO_PIN_RESET);

  /* USER CODE END RTOS_QUEUES */

  /* Start scheduler */
  osKernelStart();

  /* We should never get here as control is now taken by the scheduler */

  /* Infinite loop */
  while (1)
  {

  }
}

void SystemClock_Config(void)
{
  RCC_OscInitTypeDef RCC_OscInitStruct = {0};
  RCC_ClkInitTypeDef RCC_ClkInitStruct = {0};

  /**Configure the main internal regulator output voltage
  */
  __HAL_RCC_PWR_CLK_ENABLE();
  __HAL_PWR_VOLTAGESCALING_CONFIG(PWR_REGULATOR_VOLTAGE_SCALE1);
  /**Initializes the CPU, AHB and APB busses clocks
  */
  RCC_OscInitStruct.OscillatorType = RCC_OSCILLATORTYPE_HSI;
  RCC_OscInitStruct.HSIState = RCC_HSI_ON;
  RCC_OscInitStruct.HSICalibrationValue = RCC_HSICALIBRATION_DEFAULT;
  RCC_OscInitStruct.PLL.PLLState = RCC_PLL_ON;
  RCC_OscInitStruct.PLL.PLLSource = RCC_PLLSOURCE_HSI;
  RCC_OscInitStruct.PLL.PLLM = 8;
  RCC_OscInitStruct.PLL.PLLN = 180;
  RCC_OscInitStruct.PLL.PLLP = RCC_PLLP_DIV2;
  RCC_OscInitStruct.PLL.PLLQ = 2;
  RCC_OscInitStruct.PLL.PLLR = 2;
  if (HAL_RCC_OscConfig(&RCC_OscInitStruct) != HAL_OK)
  {
    Error_Handler();
  }
  /**Activate the Over-Drive mode
  */
  if (HAL_PWREx_EnableOverDrive() != HAL_OK)
  {
    Error_Handler();
  }
  /**Initializes the CPU, AHB and APB busses clocks
  */
  RCC_ClkInitStruct.ClockType = RCC_CLOCKTYPE_HCLK|RCC_CLOCKTYPE_SYSCLK
                              |RCC_CLOCKTYPE_PCLK1|RCC_CLOCKTYPE_PCLK2;
  RCC_ClkInitStruct.SYSCLKSource = RCC_SYSCLKSOURCE_PLLCLK;
  RCC_ClkInitStruct.AHBCLKDivider = RCC_SYSCLK_DIV1;
  RCC_ClkInitStruct.APB1CLKDivider = RCC_HCLK_DIV4;
  RCC_ClkInitStruct.APB2CLKDivider = RCC_HCLK_DIV2;

  if (HAL_RCC_ClockConfig(&RCC_ClkInitStruct, FLASH_LATENCY_5) != HAL_OK)
  {
    Error_Handler();
  }
}

static void MX_ADC1_Init(void)
{

  ADC_MultiModeTypeDef multimode = {0};
  ADC_ChannelConfTypeDef sConfig = {0};

  /**Configure the global features of the ADC (Clock, Resolution, Data Alignment and number of conversion)
  */
  hadc1.Instance = ADC1;
  hadc1.Init.ClockPrescaler = ADC_CLOCK_SYNC_PCLK_DIV4;
  hadc1.Init.Resolution = ADC_RESOLUTION_12B;
  hadc1.Init.ScanConvMode = ENABLE;
  hadc1.Init.ContinuousConvMode = DISABLE;
  hadc1.Init.DiscontinuousConvMode = DISABLE;
  hadc1.Init.ExternalTrigConvEdge = ADC_EXTERNALTRIGCONVEDGE_NONE;
  hadc1.Init.ExternalTrigConv = ADC_SOFTWARE_START;
  hadc1.Init.DataAlign = ADC_DATAALIGN_RIGHT;
  hadc1.Init.NbrOfConversion = 3;
  hadc1.Init.DMAContinuousRequests = ENABLE;
  hadc1.Init.EOCSelection = ADC_EOC_SEQ_CONV;
  if (HAL_ADC_Init(&hadc1) != HAL_OK)
  {
    Error_Handler();
  }
  /**Configure the ADC multi-mode
  */
  multimode.Mode = ADC_TRIPLEMODE_REGSIMULT;
  multimode.DMAAccessMode = ADC_DMAACCESSMODE_1;
  multimode.TwoSamplingDelay = ADC_TWOSAMPLINGDELAY_20CYCLES;
  if (HAL_ADCEx_MultiModeConfigChannel(&hadc1, &multimode) != HAL_OK)
  {
    Error_Handler();
  }
  /**Configure for the selected ADC regular channel its corresponding rank in the sequencer and its sample time.
  */
  sConfig.Channel = ADC_CHANNEL_13;
  sConfig.Rank = 1;
  sConfig.SamplingTime = ADC_SAMPLETIME_84CYCLES;
  if (HAL_ADC_ConfigChannel(&hadc1, &sConfig) != HAL_OK)
  {
    Error_Handler();
  }
  /**Configure for the selected ADC regular channel its corresponding rank in the sequencer and its sample time.
  */
  sConfig.Channel = ADC_CHANNEL_4;
  sConfig.Rank = 2;
  if (HAL_ADC_ConfigChannel(&hadc1, &sConfig) != HAL_OK)
  {
    Error_Handler();
  }
  /**Configure for the selected ADC regular channel its corresponding rank in the sequencer and its sample time.
  */
  sConfig.Channel = ADC_CHANNEL_9;
  sConfig.Rank = 3;
  if (HAL_ADC_ConfigChannel(&hadc1, &sConfig) != HAL_OK)
  {
    Error_Handler();
  }

}

static void MX_ADC2_Init(void)
{

  ADC_ChannelConfTypeDef sConfig = {0};

  /**Configure the global features of the ADC (Clock, Resolution, Data Alignment and number of conversion)
  */
  hadc2.Instance = ADC2;
  hadc2.Init.ClockPrescaler = ADC_CLOCK_SYNC_PCLK_DIV4;
  hadc2.Init.Resolution = ADC_RESOLUTION_12B;
  hadc2.Init.ScanConvMode = ENABLE;
  hadc2.Init.ContinuousConvMode = DISABLE;
  hadc2.Init.DiscontinuousConvMode = DISABLE;
  hadc2.Init.DataAlign = ADC_DATAALIGN_RIGHT;
  hadc2.Init.NbrOfConversion = 3;
  hadc2.Init.DMAContinuousRequests = ENABLE;
  hadc2.Init.EOCSelection = ADC_EOC_SEQ_CONV;
  if (HAL_ADC_Init(&hadc2) != HAL_OK)
  {
    Error_Handler();
  }
  /**Configure for the selected ADC regular channel its corresponding rank in the sequencer and its sample time.
  */
  sConfig.Channel = ADC_CHANNEL_12;
  sConfig.Rank = 1;
  sConfig.SamplingTime = ADC_SAMPLETIME_84CYCLES;
  if (HAL_ADC_ConfigChannel(&hadc2, &sConfig) != HAL_OK)
  {
    Error_Handler();
  }
  /**Configure for the selected ADC regular channel its corresponding rank in the sequencer and its sample time.
  */
  sConfig.Channel = ADC_CHANNEL_1;
  sConfig.Rank = 2;
  if (HAL_ADC_ConfigChannel(&hadc2, &sConfig) != HAL_OK)
  {
    Error_Handler();
  }
  /**Configure for the selected ADC regular channel its corresponding rank in the sequencer and its sample time.
  */
  sConfig.Channel = ADC_CHANNEL_15;
  sConfig.Rank = 3;
  if (HAL_ADC_ConfigChannel(&hadc2, &sConfig) != HAL_OK)
  {
    Error_Handler();
  }

}

static void MX_ADC3_Init(void)
{

  ADC_ChannelConfTypeDef sConfig = {0};

  /**Configure the global features of the ADC (Clock, Resolution, Data Alignment and number of conversion)
  */
  hadc3.Instance = ADC3;
  hadc3.Init.ClockPrescaler = ADC_CLOCK_SYNC_PCLK_DIV4;
  hadc3.Init.Resolution = ADC_RESOLUTION_12B;
  hadc3.Init.ScanConvMode = ENABLE;
  hadc3.Init.ContinuousConvMode = DISABLE;
  hadc3.Init.DiscontinuousConvMode = DISABLE;
  hadc3.Init.DataAlign = ADC_DATAALIGN_RIGHT;
  hadc3.Init.NbrOfConversion = 3;
  hadc3.Init.DMAContinuousRequests = ENABLE;
  hadc3.Init.EOCSelection = ADC_EOC_SEQ_CONV;
  if (HAL_ADC_Init(&hadc3) != HAL_OK)
  {
    Error_Handler();
  }
  /**Configure for the selected ADC regular channel its corresponding rank in the sequencer and its sample time.
  */
  sConfig.Channel = ADC_CHANNEL_10;
  sConfig.Rank = 1;
  sConfig.SamplingTime = ADC_SAMPLETIME_84CYCLES;
  if (HAL_ADC_ConfigChannel(&hadc3, &sConfig) != HAL_OK)
  {
    Error_Handler();
  }
  /**Configure for the selected ADC regular channel its corresponding rank in the sequencer and its sample time.
  */
  sConfig.Channel = ADC_CHANNEL_0;
  sConfig.Rank = 2;
  if (HAL_ADC_ConfigChannel(&hadc3, &sConfig) != HAL_OK)
  {
    Error_Handler();
  }
  /**Configure for the selected ADC regular channel its corresponding rank in the sequencer and its sample time.
  */
  sConfig.Rank = 3;
  if (HAL_ADC_ConfigChannel(&hadc3, &sConfig) != HAL_OK)
  {
    Error_Handler();
  }

}

static void MX_I2C1_Init(void)
{

  hi2c1.Instance = I2C1;
  hi2c1.Init.ClockSpeed = 100000;
  hi2c1.Init.DutyCycle = I2C_DUTYCYCLE_2;
  hi2c1.Init.OwnAddress1 = 0;
  hi2c1.Init.AddressingMode = I2C_ADDRESSINGMODE_7BIT;
  hi2c1.Init.DualAddressMode = I2C_DUALADDRESS_DISABLE;
  hi2c1.Init.OwnAddress2 = 0;
  hi2c1.Init.GeneralCallMode = I2C_GENERALCALL_DISABLE;
  hi2c1.Init.NoStretchMode = I2C_NOSTRETCH_DISABLE;
  if (HAL_I2C_Init(&hi2c1) != HAL_OK)
  {
    Error_Handler();
  }

}

static void MX_SPI2_Init(void)
{

  /* SPI2 parameter configuration*/
  hspi2.Instance = SPI2;
  hspi2.Init.Mode = SPI_MODE_MASTER;
  hspi2.Init.Direction = SPI_DIRECTION_2LINES;
  hspi2.Init.DataSize = SPI_DATASIZE_8BIT;
  hspi2.Init.CLKPolarity = SPI_POLARITY_LOW;
  hspi2.Init.CLKPhase = SPI_PHASE_1EDGE;
  hspi2.Init.NSS = SPI_NSS_SOFT;
  hspi2.Init.BaudRatePrescaler = SPI_BAUDRATEPRESCALER_16;
  hspi2.Init.FirstBit = SPI_FIRSTBIT_MSB;
  hspi2.Init.TIMode = SPI_TIMODE_DISABLE;
  hspi2.Init.CRCCalculation = SPI_CRCCALCULATION_DISABLE;
  hspi2.Init.CRCPolynomial = 10;
  if (HAL_SPI_Init(&hspi2) != HAL_OK)
  {
    Error_Handler();
  }

}

static void MX_SPI3_Init(void)
{

  /* SPI3 parameter configuration*/
  hspi3.Instance = SPI3;
  hspi3.Init.Mode = SPI_MODE_MASTER;
  hspi3.Init.Direction = SPI_DIRECTION_2LINES;
  hspi3.Init.DataSize = SPI_DATASIZE_8BIT;
  hspi3.Init.CLKPolarity = SPI_POLARITY_LOW;
  hspi3.Init.CLKPhase = SPI_PHASE_1EDGE;
  hspi3.Init.NSS = SPI_NSS_SOFT;
  hspi3.Init.BaudRatePrescaler = SPI_BAUDRATEPRESCALER_16;
  hspi3.Init.FirstBit = SPI_FIRSTBIT_MSB;
  hspi3.Init.TIMode = SPI_TIMODE_DISABLE;
  hspi3.Init.CRCCalculation = SPI_CRCCALCULATION_DISABLE;
  hspi3.Init.CRCPolynomial = 10;
  if (HAL_SPI_Init(&hspi3) != HAL_OK)
  {
    Error_Handler();
  }

}

static void MX_TIM1_Init(void)
{

  TIM_MasterConfigTypeDef sMasterConfig = {0};
  TIM_OC_InitTypeDef sConfigOC = {0};
  TIM_BreakDeadTimeConfigTypeDef sBreakDeadTimeConfig = {0};

  htim1.Instance = TIM1;
  htim1.Init.Prescaler = 179;
  htim1.Init.CounterMode = TIM_COUNTERMODE_UP;
  htim1.Init.Period = 9999;
  htim1.Init.ClockDivision = TIM_CLOCKDIVISION_DIV1;
  htim1.Init.RepetitionCounter = 0;
  if (HAL_TIM_PWM_Init(&htim1) != HAL_OK)
  {
    Error_Handler();
  }
  sMasterConfig.MasterOutputTrigger = TIM_TRGO_RESET;
  sMasterConfig.MasterSlaveMode = TIM_MASTERSLAVEMODE_DISABLE;
  if (HAL_TIMEx_MasterConfigSynchronization(&htim1, &sMasterConfig) != HAL_OK)
  {
    Error_Handler();
  }
  sConfigOC.OCMode = TIM_OCMODE_PWM1;
  sConfigOC.Pulse = 1500;
  sConfigOC.OCPolarity = TIM_OCPOLARITY_HIGH;
  sConfigOC.OCNPolarity = TIM_OCNPOLARITY_HIGH;
  sConfigOC.OCFastMode = TIM_OCFAST_DISABLE;
  sConfigOC.OCIdleState = TIM_OCIDLESTATE_RESET;
  sConfigOC.OCNIdleState = TIM_OCNIDLESTATE_RESET;
  if (HAL_TIM_PWM_ConfigChannel(&htim1, &sConfigOC, TIM_CHANNEL_1) != HAL_OK)
  {
    Error_Handler();
  }
  sBreakDeadTimeConfig.OffStateRunMode = TIM_OSSR_DISABLE;
  sBreakDeadTimeConfig.OffStateIDLEMode = TIM_OSSI_DISABLE;
  sBreakDeadTimeConfig.LockLevel = TIM_LOCKLEVEL_OFF;
  sBreakDeadTimeConfig.DeadTime = 0;
  sBreakDeadTimeConfig.BreakState = TIM_BREAK_DISABLE;
  sBreakDeadTimeConfig.BreakPolarity = TIM_BREAKPOLARITY_HIGH;
  sBreakDeadTimeConfig.AutomaticOutput = TIM_AUTOMATICOUTPUT_DISABLE;
  if (HAL_TIMEx_ConfigBreakDeadTime(&htim1, &sBreakDeadTimeConfig) != HAL_OK)
  {
    Error_Handler();
  }
  HAL_TIM_MspPostInit(&htim1);

}

static void MX_TIM2_Init(void)
{

  TIM_SlaveConfigTypeDef sSlaveConfig = {0};
  TIM_IC_InitTypeDef sConfigIC = {0};
  TIM_MasterConfigTypeDef sMasterConfig = {0};
  TIM_OC_InitTypeDef sConfigOC = {0};

  htim2.Instance = TIM2;
  htim2.Init.Prescaler = 89;
  htim2.Init.CounterMode = TIM_COUNTERMODE_UP;
  htim2.Init.Period = 4999;
  htim2.Init.ClockDivision = TIM_CLOCKDIVISION_DIV1;
  if (HAL_TIM_PWM_Init(&htim2) != HAL_OK)
  {
    Error_Handler();
  }
  if (HAL_TIM_IC_Init(&htim2) != HAL_OK)
  {
    Error_Handler();
  }
  sSlaveConfig.SlaveMode = TIM_SLAVEMODE_RESET;
  sSlaveConfig.InputTrigger = TIM_TS_TI1FP1;
  sSlaveConfig.TriggerPolarity = TIM_INPUTCHANNELPOLARITY_RISING;
  sSlaveConfig.TriggerPrescaler = TIM_ICPSC_DIV1;
  sSlaveConfig.TriggerFilter = 0;
  if (HAL_TIM_SlaveConfigSynchronization(&htim2, &sSlaveConfig) != HAL_OK)
  {
    Error_Handler();
  }
  sConfigIC.ICPolarity = TIM_INPUTCHANNELPOLARITY_RISING;
  sConfigIC.ICSelection = TIM_ICSELECTION_DIRECTTI;
  sConfigIC.ICPrescaler = TIM_ICPSC_DIV1;
  sConfigIC.ICFilter = 0;
  if (HAL_TIM_IC_ConfigChannel(&htim2, &sConfigIC, TIM_CHANNEL_1) != HAL_OK)
  {
    Error_Handler();
  }
  sConfigIC.ICPolarity = TIM_INPUTCHANNELPOLARITY_FALLING;
  sConfigIC.ICSelection = TIM_ICSELECTION_INDIRECTTI;
  if (HAL_TIM_IC_ConfigChannel(&htim2, &sConfigIC, TIM_CHANNEL_2) != HAL_OK)
  {
    Error_Handler();
  }
  sMasterConfig.MasterOutputTrigger = TIM_TRGO_RESET;
  sMasterConfig.MasterSlaveMode = TIM_MASTERSLAVEMODE_DISABLE;
  if (HAL_TIMEx_MasterConfigSynchronization(&htim2, &sMasterConfig) != HAL_OK)
  {
    Error_Handler();
  }
  sConfigOC.OCMode = TIM_OCMODE_PWM1;
  sConfigOC.Pulse = 1500;
  sConfigOC.OCPolarity = TIM_OCPOLARITY_HIGH;
  sConfigOC.OCFastMode = TIM_OCFAST_DISABLE;
  if (HAL_TIM_PWM_ConfigChannel(&htim2, &sConfigOC, TIM_CHANNEL_4) != HAL_OK)
  {
    Error_Handler();
  }
  HAL_TIM_MspPostInit(&htim2);

}

static void MX_TIM3_Init(void)
{

  TIM_Encoder_InitTypeDef sConfig = {0};
  TIM_MasterConfigTypeDef sMasterConfig = {0};

  htim3.Instance = TIM3;
  htim3.Init.Prescaler = 0;
  htim3.Init.CounterMode = TIM_COUNTERMODE_UP;
  htim3.Init.Period = 65535;
  htim3.Init.ClockDivision = TIM_CLOCKDIVISION_DIV1;
  sConfig.EncoderMode = TIM_ENCODERMODE_TI1;
  sConfig.IC1Polarity = TIM_ICPOLARITY_RISING;
  sConfig.IC1Selection = TIM_ICSELECTION_DIRECTTI;
  sConfig.IC1Prescaler = TIM_ICPSC_DIV1;
  sConfig.IC1Filter = 5;
  sConfig.IC2Polarity = TIM_ICPOLARITY_RISING;
  sConfig.IC2Selection = TIM_ICSELECTION_DIRECTTI;
  sConfig.IC2Prescaler = TIM_ICPSC_DIV1;
  sConfig.IC2Filter = 5;
  if (HAL_TIM_Encoder_Init(&htim3, &sConfig) != HAL_OK)
  {
    Error_Handler();
  }
  sMasterConfig.MasterOutputTrigger = TIM_TRGO_RESET;
  sMasterConfig.MasterSlaveMode = TIM_MASTERSLAVEMODE_DISABLE;
  if (HAL_TIMEx_MasterConfigSynchronization(&htim3, &sMasterConfig) != HAL_OK)
  {
    Error_Handler();
  }

}

static void MX_TIM6_Init(void)
{

  TIM_MasterConfigTypeDef sMasterConfig = {0};

  htim6.Instance = TIM6;
  htim6.Init.Prescaler = 89;
  htim6.Init.CounterMode = TIM_COUNTERMODE_UP;
  htim6.Init.Period = 99;
  if (HAL_TIM_Base_Init(&htim6) != HAL_OK)
  {
    Error_Handler();
  }
  sMasterConfig.MasterOutputTrigger = TIM_TRGO_RESET;
  sMasterConfig.MasterSlaveMode = TIM_MASTERSLAVEMODE_DISABLE;
  if (HAL_TIMEx_MasterConfigSynchronization(&htim6, &sMasterConfig) != HAL_OK)
  {
    Error_Handler();
  }

}

static void MX_TIM7_Init(void)
{

  TIM_MasterConfigTypeDef sMasterConfig = {0};

  htim7.Instance = TIM7;
  htim7.Init.Prescaler = 89;
  htim7.Init.CounterMode = TIM_COUNTERMODE_UP;
  htim7.Init.Period = 59999;
  if (HAL_TIM_Base_Init(&htim7) != HAL_OK)
  {
    Error_Handler();
  }
  sMasterConfig.MasterOutputTrigger = TIM_TRGO_RESET;
  sMasterConfig.MasterSlaveMode = TIM_MASTERSLAVEMODE_DISABLE;
  if (HAL_TIMEx_MasterConfigSynchronization(&htim7, &sMasterConfig) != HAL_OK)
  {
    Error_Handler();
  }

}

static void MX_TIM11_Init(void)
{

  htim11.Instance = TIM11;
  htim11.Init.Prescaler = 179;
  htim11.Init.CounterMode = TIM_COUNTERMODE_UP;
  htim11.Init.Period = 299;
  htim11.Init.ClockDivision = TIM_CLOCKDIVISION_DIV1;
  if (HAL_TIM_Base_Init(&htim11) != HAL_OK)
  {
    Error_Handler();
  }

}

static void MX_TIM12_Init(void)
{

  TIM_ClockConfigTypeDef sClockSourceConfig = {0};

  htim12.Instance = TIM12;
  htim12.Init.Prescaler = 17;
  htim12.Init.CounterMode = TIM_COUNTERMODE_UP;
  htim12.Init.Period = 65535;
  htim12.Init.ClockDivision = TIM_CLOCKDIVISION_DIV1;
  if (HAL_TIM_Base_Init(&htim12) != HAL_OK)
  {
    Error_Handler();
  }
  sClockSourceConfig.ClockSource = TIM_CLOCKSOURCE_INTERNAL;
  if (HAL_TIM_ConfigClockSource(&htim12, &sClockSourceConfig) != HAL_OK)
  {
    Error_Handler();
  }

}

static void MX_TIM13_Init(void)
{

  htim13.Instance = TIM13;
  htim13.Init.Prescaler = 89;
  htim13.Init.CounterMode = TIM_COUNTERMODE_UP;
  htim13.Init.Period = 10;
  htim13.Init.ClockDivision = TIM_CLOCKDIVISION_DIV1;
  if (HAL_TIM_Base_Init(&htim13) != HAL_OK)
  {
    Error_Handler();
  }

}

static void MX_TIM14_Init(void)
{

  htim14.Instance = TIM14;
  htim14.Init.Prescaler = 44999;
  htim14.Init.CounterMode = TIM_COUNTERMODE_UP;
  htim14.Init.Period = 1999;
  htim14.Init.ClockDivision = TIM_CLOCKDIVISION_DIV1;
  if (HAL_TIM_Base_Init(&htim14) != HAL_OK)
  {
    Error_Handler();
  }

}

static void MX_UART5_Init(void)
{

  huart5.Instance = UART5;
  huart5.Init.BaudRate = 115200;
  huart5.Init.WordLength = UART_WORDLENGTH_8B;
  huart5.Init.StopBits = UART_STOPBITS_1;
  huart5.Init.Parity = UART_PARITY_NONE;
  huart5.Init.Mode = UART_MODE_TX_RX;
  huart5.Init.HwFlowCtl = UART_HWCONTROL_NONE;
  huart5.Init.OverSampling = UART_OVERSAMPLING_16;
  if (HAL_UART_Init(&huart5) != HAL_OK)
  {
    Error_Handler();
  }

}

static void MX_USART1_UART_Init(void)
{

  huart1.Instance = USART1;
  huart1.Init.BaudRate = 115200;
  huart1.Init.WordLength = UART_WORDLENGTH_8B;
  huart1.Init.StopBits = UART_STOPBITS_1;
  huart1.Init.Parity = UART_PARITY_NONE;
  huart1.Init.Mode = UART_MODE_TX_RX;
  huart1.Init.HwFlowCtl = UART_HWCONTROL_NONE;
  huart1.Init.OverSampling = UART_OVERSAMPLING_16;
  if (HAL_UART_Init(&huart1) != HAL_OK)
  {
    Error_Handler();
  }

}

static void MX_USART2_UART_Init(void)
{

  huart2.Instance = USART2;
  huart2.Init.BaudRate = 115200;
  huart2.Init.WordLength = UART_WORDLENGTH_8B;
  huart2.Init.StopBits = UART_STOPBITS_1;
  huart2.Init.Parity = UART_PARITY_NONE;
  huart2.Init.Mode = UART_MODE_TX_RX;
  huart2.Init.HwFlowCtl = UART_HWCONTROL_NONE;
  huart2.Init.OverSampling = UART_OVERSAMPLING_16;
  if (HAL_UART_Init(&huart2) != HAL_OK)
  {
    Error_Handler();
  }

}

static void MX_DMA_Init(void)
{
  /* DMA controller clock enable */
  __HAL_RCC_DMA2_CLK_ENABLE();
  __HAL_RCC_DMA1_CLK_ENABLE();

  /* DMA interrupt init */
  /* DMA1_Stream0_IRQn interrupt configuration */
  HAL_NVIC_SetPriority(DMA1_Stream0_IRQn, 5, 0);
  HAL_NVIC_EnableIRQ(DMA1_Stream0_IRQn);
  /* DMA1_Stream2_IRQn interrupt configuration */
  HAL_NVIC_SetPriority(DMA1_Stream2_IRQn, 5, 0);
  HAL_NVIC_EnableIRQ(DMA1_Stream2_IRQn);
  /* DMA1_Stream4_IRQn interrupt configuration */
  HAL_NVIC_SetPriority(DMA1_Stream4_IRQn, 5, 0);
  HAL_NVIC_EnableIRQ(DMA1_Stream4_IRQn);
  /* DMA1_Stream5_IRQn interrupt configuration */
  HAL_NVIC_SetPriority(DMA1_Stream5_IRQn, 5, 0);
  HAL_NVIC_EnableIRQ(DMA1_Stream5_IRQn);
  /* DMA1_Stream6_IRQn interrupt configuration */
  HAL_NVIC_SetPriority(DMA1_Stream6_IRQn, 5, 0);
  HAL_NVIC_EnableIRQ(DMA1_Stream6_IRQn);
  /* DMA1_Stream7_IRQn interrupt configuration */
  HAL_NVIC_SetPriority(DMA1_Stream7_IRQn, 5, 0);
  HAL_NVIC_EnableIRQ(DMA1_Stream7_IRQn);
  /* DMA2_Stream0_IRQn interrupt configuration */
  HAL_NVIC_SetPriority(DMA2_Stream0_IRQn, 5, 0);
  HAL_NVIC_EnableIRQ(DMA2_Stream0_IRQn);
  /* DMA2_Stream1_IRQn interrupt configuration */
  HAL_NVIC_SetPriority(DMA2_Stream1_IRQn, 5, 0);
  HAL_NVIC_EnableIRQ(DMA2_Stream1_IRQn);
  /* DMA2_Stream2_IRQn interrupt configuration */
  HAL_NVIC_SetPriority(DMA2_Stream2_IRQn, 5, 0);
  HAL_NVIC_EnableIRQ(DMA2_Stream2_IRQn);

}

static void MX_GPIO_Init(void)
{
  GPIO_InitTypeDef GPIO_InitStruct = {0};

  /* GPIO Ports Clock Enable */
  __HAL_RCC_GPIOC_CLK_ENABLE();
  __HAL_RCC_GPIOH_CLK_ENABLE();
  __HAL_RCC_GPIOA_CLK_ENABLE();
  __HAL_RCC_GPIOB_CLK_ENABLE();
  __HAL_RCC_GPIOD_CLK_ENABLE();

  /*Configure GPIO pin Output Level */
  HAL_GPIO_WritePin(GPIOA, LD2_Pin|ULTRA_TRIG_Pin, GPIO_PIN_RESET);

  /*Configure GPIO pin Output Level */
  HAL_GPIO_WritePin(GPIOB, MOTOR_EN_Pin|MULTIP_1_Pin|MULTIP_2_Pin|LE_1_Pin
                          |MULTIP_4_Pin|MULTIP_3_Pin, GPIO_PIN_RESET);

  /*Configure GPIO pin Output Level */
  HAL_GPIO_WritePin(GPIOC, SHARP_MULTIP_1_Pin|SHARP_MULTIP_2_Pin, GPIO_PIN_RESET);

  /*Configure GPIO pin : B1_Pin */
  GPIO_InitStruct.Pin = B1_Pin;
  GPIO_InitStruct.Mode = GPIO_MODE_IT_FALLING;
  GPIO_InitStruct.Pull = GPIO_NOPULL;
  HAL_GPIO_Init(B1_GPIO_Port, &GPIO_InitStruct);

  /*Configure GPIO pins : LD2_Pin ULTRA_TRIG_Pin */
  GPIO_InitStruct.Pin = LD2_Pin|ULTRA_TRIG_Pin;
  GPIO_InitStruct.Mode = GPIO_MODE_OUTPUT_PP;
  GPIO_InitStruct.Pull = GPIO_NOPULL;
  GPIO_InitStruct.Speed = GPIO_SPEED_FREQ_LOW;
  HAL_GPIO_Init(GPIOA, &GPIO_InitStruct);

  /*Configure GPIO pins : ENC_INDEX_Pin TOF_IR_3_Pin TOF_IR_2_Pin TOF_IR_1_Pin */
  GPIO_InitStruct.Pin = ENC_INDEX_Pin|TOF_IR_3_Pin|TOF_IR_2_Pin|TOF_IR_1_Pin;
  GPIO_InitStruct.Mode = GPIO_MODE_IT_RISING;
  GPIO_InitStruct.Pull = GPIO_NOPULL;
  HAL_GPIO_Init(GPIOC, &GPIO_InitStruct);

  /*Configure GPIO pin : MOTOR_EN_Pin */
  GPIO_InitStruct.Pin = MOTOR_EN_Pin;
  GPIO_InitStruct.Mode = GPIO_MODE_OUTPUT_PP;
  GPIO_InitStruct.Pull = GPIO_PULLDOWN;
  GPIO_InitStruct.Speed = GPIO_SPEED_FREQ_LOW;
  HAL_GPIO_Init(MOTOR_EN_GPIO_Port, &GPIO_InitStruct);

  /*Configure GPIO pins : MULTIP_1_Pin MULTIP_2_Pin LE_1_Pin MULTIP_4_Pin
                           MULTIP_3_Pin */
  GPIO_InitStruct.Pin = MULTIP_1_Pin|MULTIP_2_Pin|LE_1_Pin|MULTIP_4_Pin
                          |MULTIP_3_Pin;
  GPIO_InitStruct.Mode = GPIO_MODE_OUTPUT_PP;
  GPIO_InitStruct.Pull = GPIO_NOPULL;
  GPIO_InitStruct.Speed = GPIO_SPEED_FREQ_LOW;
  HAL_GPIO_Init(GPIOB, &GPIO_InitStruct);

  /*Configure GPIO pins : SHARP_MULTIP_1_Pin SHARP_MULTIP_2_Pin */
  GPIO_InitStruct.Pin = SHARP_MULTIP_1_Pin|SHARP_MULTIP_2_Pin;
  GPIO_InitStruct.Mode = GPIO_MODE_OUTPUT_PP;
  GPIO_InitStruct.Pull = GPIO_NOPULL;
  GPIO_InitStruct.Speed = GPIO_SPEED_FREQ_LOW;
  HAL_GPIO_Init(GPIOC, &GPIO_InitStruct);

  /*Configure GPIO pin : ULTRA_ECHO_Pin */
  GPIO_InitStruct.Pin = ULTRA_ECHO_Pin;
  GPIO_InitStruct.Mode = GPIO_MODE_IT_RISING_FALLING;
  GPIO_InitStruct.Pull = GPIO_NOPULL;
  HAL_GPIO_Init(ULTRA_ECHO_GPIO_Port, &GPIO_InitStruct);

  /*Configure GPIO pin : INERC_IT_Pin */
  GPIO_InitStruct.Pin = INERC_IT_Pin;
  GPIO_InitStruct.Mode = GPIO_MODE_IT_RISING;
  GPIO_InitStruct.Pull = GPIO_NOPULL;
  HAL_GPIO_Init(INERC_IT_GPIO_Port, &GPIO_InitStruct);

  /* EXTI interrupt init*/
  HAL_NVIC_SetPriority(EXTI9_5_IRQn, 5, 0);
  HAL_NVIC_EnableIRQ(EXTI9_5_IRQn);

  HAL_NVIC_SetPriority(EXTI15_10_IRQn, 5, 0);
  HAL_NVIC_EnableIRQ(EXTI15_10_IRQn);

}

/* USER CODE BEGIN 4 */

void HAL_GPIO_EXTI_Callback(uint16_t GPIO_Pin)
{
	if (GPIO_Pin == GPIO_PIN_5) {
		xHigherPriorityTaskWokenGPIO = pdFALSE;
		vTaskNotifyGiveFromISR( Gyroscope_TaskHandle, &xHigherPriorityTaskWokenGPIO );
		portYIELD_FROM_ISR( xHigherPriorityTaskWokenGPIO );
	}
	if(GPIO_Pin == GPIO_PIN_12)
  {
		if(HAL_GPIO_ReadPin(GPIOA,GPIO_PIN_12)){
			HAL_TIM_Base_Start_IT(&htim12);
		}
		else{
			ultra_echo_time = ultra_overrun*65535 + __HAL_TIM_GET_COUNTER(&htim12);
			xHigherPriorityTaskWokenDebugGet = pdFALSE;
			vTaskNotifyGiveFromISR( TOF_TaskHandle, &xHigherPriorityTaskWokenDebugGet );
			portYIELD_FROM_ISR( xHigherPriorityTaskWokenDebugGet );
			HAL_TIM_Base_Stop_IT(&htim12);
			__HAL_TIM_SET_COUNTER(&htim12,0);
		}
  }
	if(GPIO_Pin == GPIO_PIN_13)
  {
		gyorsasagival_kezdunk = TRUE;
	}
}

/* USER CODE END 4 */

__weak void Start_Encoder_Task(void const * argument)
{

  for(;;)
  {
    osDelay(1);
  }
}

__weak void Start_ADC_Task(void const * argument)
{
  for(;;)
  {
    osDelay(1);
  }
}

__weak void Start_Debug_Task(void const * argument)
{
  for(;;)
  {
    osDelay(1);
  }
}

__weak void Start_Calculate_Task(void const * argument)
{
  for(;;)
  {
    osDelay(1);
  }
}

__weak void Start_Motor_Task(void const * argument)
{
  for(;;)
  {
    osDelay(1);
  }
}

__weak void Start_Get_Debug_Task(void const * argument)
{
  for(;;)
  {
    osDelay(1);
  }
}

__weak void Start_Gyroscope_Task(void const * argument)
{
  for(;;)
  {
    osDelay(1);
  }
}

__weak void Start_Servo_Task(void const * argument)
{
  for(;;)
  {
    osDelay(1);
  }
}

__weak void Start_TOF_Task(void const * argument)
{
  for(;;)
  {
    osDelay(1);
  }
}

void HAL_TIM_PeriodElapsedCallback(TIM_HandleTypeDef *htim)
{
  if (htim->Instance == TIM10) {
    HAL_IncTick();
  }
  /* USER CODE BEGIN Callback 1 */
	if (htim->Instance == TIM7) {
    Timer7_UPPER++;
  }
	if (htim->Instance == TIM11) {
		xHigherPriorityTaskWoken = pdFALSE;
		vTaskNotifyGiveFromISR( ADC_TaskHandle, &xHigherPriorityTaskWoken );
		portYIELD_FROM_ISR( xHigherPriorityTaskWoken );
  }
	if (htim->Instance == TIM6) {
		xHigherPriorityTaskWokenEncoder = pdFALSE;
		vTaskNotifyGiveFromISR( Encoder_TaskHandle, &xHigherPriorityTaskWokenEncoder );
		portYIELD_FROM_ISR( xHigherPriorityTaskWokenEncoder );
	}
	if (htim->Instance == TIM12) {
    ultra_overrun++;
  }
	if (htim->Instance == TIM13) {
		HAL_GPIO_WritePin(GPIOA,GPIO_PIN_11,GPIO_PIN_RESET);
		HAL_TIM_Base_Stop_IT(&htim13);
		__HAL_TIM_SET_COUNTER(&htim13,0);
  }
  /* USER CODE END Callback 1 */
}

void Error_Handler(void)
{
}

/************************ (C) COPYRIGHT STMicroelectronics *****END OF FILE****/
